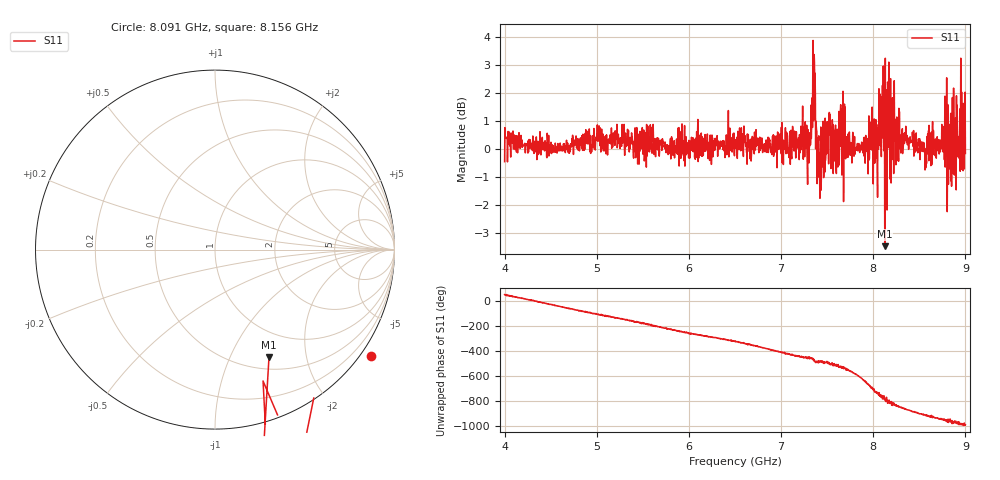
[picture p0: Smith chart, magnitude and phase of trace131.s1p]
! Created with skrf 1.8.0 (http://scikit-rf.org).
# Hz S RI R 50.0
!freq ReS11 ImS11
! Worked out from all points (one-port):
!   1601 points, 4 GHz to 9 GHz, reference 50 ohm
!   lowest |S11| = -3.5 dB at 8.125 GHz (marker M1), VSWR 5.09, Z = 32.3 - j70.7 ohm
!   |S11| at or under -10 dB: nowhere
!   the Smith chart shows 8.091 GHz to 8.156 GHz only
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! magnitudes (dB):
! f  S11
! 4 GHz  -0.4
! 4.028 GHz  0.4
! 4.625 GHz  -0.1
! 5.25 GHz  0.2
! 5.875 GHz  -0.1
! 6.5 GHz  0.2
! 7.125 GHz  0.8
! 7.297 GHz  0.1
! 7.347 GHz  3.9
! 7.362 GHz  3.1
! 7.397 GHz  0.3
! 7.416 GHz  -0.2
! 7.512 GHz  0.6
! 7.6 GHz  -0.9
! 7.669 GHz  1.1
! 7.75 GHz  -0.2
! 7.988 GHz  1.5
! 8.022 GHz  -0.1
! 8.088 GHz  -0.3
! 8.125 GHz  -3.5
! 8.153 GHz  0.1
! 8.206 GHz  -0.4
! 8.375 GHz  0.3
! 8.553 GHz  -0.1
! 8.775 GHz  1.0
! 8.828 GHz  -0.5
! 8.972 GHz  0.5
! 9 GHz  -0.1
